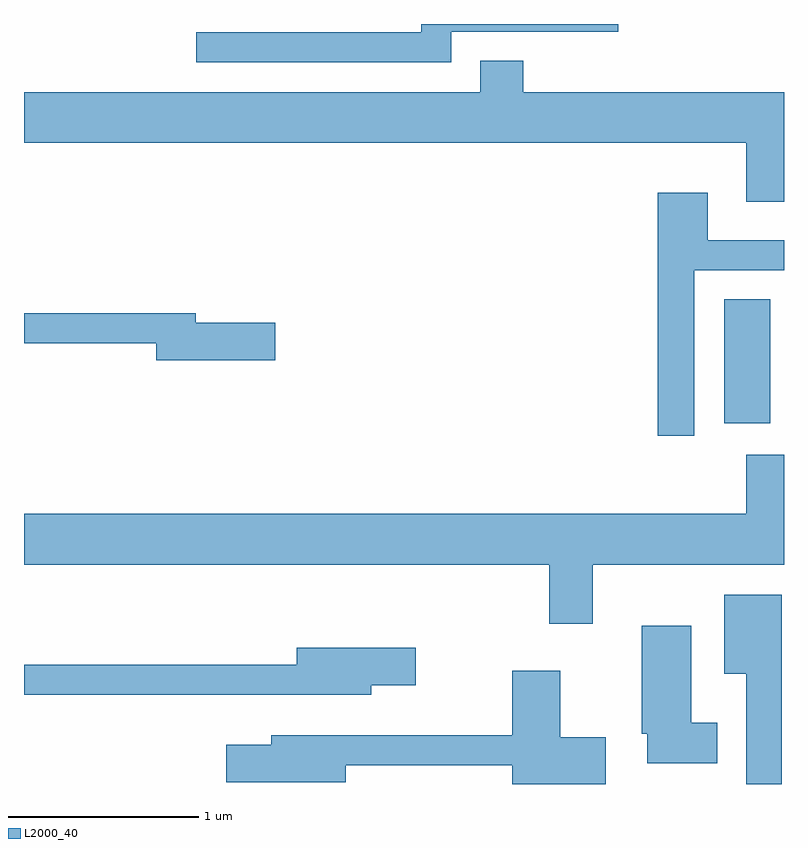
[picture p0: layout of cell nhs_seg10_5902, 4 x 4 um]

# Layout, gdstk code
import gdstk
lib = gdstk.Library(unit=1e-6, precision=1e-09)
def R(c, l, rs):  # rectangles x0, y0, x1, y1
    for r in rs: c.add(gdstk.rectangle(r[:2], r[2:], *l))
def P(c, l, *ps):  # polygons
    for p in ps: c.add(gdstk.Polygon(p, *l))
L2000_40 = (2000, 40)

nhs_seg10_5902 = lib.new_cell('nhs_seg10_5902')
R(nhs_seg10_5902, L2000_40, [(363.296,2132.421,363.539,2133.074)])
P(nhs_seg10_5902, L2000_40, [(361.859,2134.481),(362.738,2134.481),(362.738,2134.522),(361.701,2134.522),(361.701,2134.479),(360.518,2134.479),(360.518,2134.321),(361.859,2134.321)],
  [(363.611,2134.164),(362.239,2134.164),(362.239,2134.329),(362.011,2134.329),(362.011,2134.164),(359.611,2134.164),(359.611,2133.896),(363.411,2133.896),(363.411,2133.586),(363.611,2133.586)],
  [(363.139,2133.226),(363.611,2133.226),(363.611,2133.384),(363.209,2133.384),(363.209,2133.634),(362.946,2133.634),(362.946,2132.356),(363.139,2132.356)],
  [(360.934,2132.949),(360.514,2132.949),(360.514,2132.999),(359.611,2132.999),(359.611,2132.841),(360.306,2132.841),(360.306,2132.751),(360.934,2132.751)],
  [(362.604,2131.676),(363.611,2131.676),(363.611,2132.254),(363.411,2132.254),(363.411,2131.944),(359.611,2131.944),(359.611,2131.676),(362.376,2131.676),(362.376,2131.366),(362.604,2131.366)],
  [(363.599,2131.519),(363.296,2131.519),(363.296,2131.101),(363.411,2131.101),(363.411,2130.522),(363.599,2130.522)],
  [(363.259,2130.844),(363.124,2130.844),(363.124,2131.354),(362.861,2131.354),(362.861,2130.786),(362.891,2130.786),(362.891,2130.631),(363.259,2130.631)],
  [(361.439,2131.041),(361.674,2131.041),(361.674,2131.239),(361.046,2131.239),(361.046,2131.149),(359.611,2131.149),(359.611,2130.991),(361.439,2130.991)],
  [(362.674,2130.769),(362.434,2130.769),(362.434,2131.119),(362.181,2131.119),(362.181,2130.779),(360.911,2130.779),(360.911,2130.729),(360.676,2130.729),(360.676,2130.531),(361.304,2130.531),(361.304,2130.621),(362.181,2130.621),(362.181,2130.522),(362.674,2130.522)])

lib.write_gds('nhs_seg10_5902.gds')
